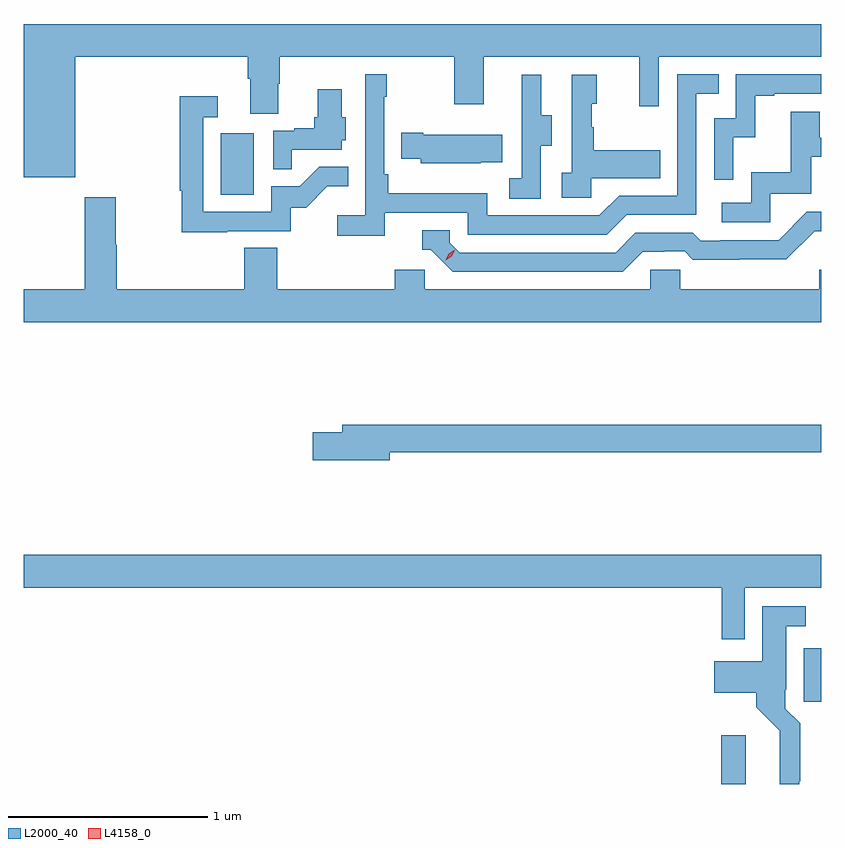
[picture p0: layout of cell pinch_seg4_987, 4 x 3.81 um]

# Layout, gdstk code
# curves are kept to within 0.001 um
import gdstk
lib = gdstk.Library(unit=1e-6, precision=1e-09)
def R(c, l, rs):  # rectangles x0, y0, x1, y1
    for r in rs: c.add(gdstk.rectangle(r[:2], r[2:], *l))
def P(c, l, *ps):  # polygons
    for p in ps: c.add(gdstk.Polygon(p, *l))
L2000_40 = (2000, 40)
L4158_0 = (4158, 0)

pinch_seg4_987 = lib.new_cell('pinch_seg4_987')
R(pinch_seg4_987, L2000_40, [(794.315,783.846,794.437,784.09), (794.729,784.26,794.816,784.527), (791.804,786.804,791.968,787.111)])
P(pinch_seg4_987, L2000_40, [(791.074,787.496),(791.939,787.496),(791.939,787.384),(791.951,787.384),(791.951,787.21),(792.091,787.21),(792.091,787.359),(792.099,787.359),(792.099,787.496),(792.976,787.496),(792.976,787.257),(793.123,787.257),(793.123,787.496),(793.904,787.496),(793.904,787.248),(794.001,787.248),(794.001,787.496),(794.816,787.496),(794.816,787.66),(790.816,787.66),(790.816,786.89),(791.074,786.89)],
  [(792.626,786.714),(793.044,786.714),(793.044,786.603),(793.741,786.603),(793.84,786.702),(794.19,786.702),(794.19,787.311),(794.303,787.311),(794.303,787.407),(794.094,787.407),(794.094,786.798),(793.803,786.798),(793.704,786.699),(793.14,786.699),(793.14,786.811),(792.644,786.811),(792.644,786.907),(792.624,786.907),(792.624,787.295),(792.637,787.295),(792.637,787.408),(792.528,787.408),(792.528,786.7),(792.387,786.7),(792.387,786.598),(792.626,786.598)],
  [(794.376,787.091),(794.486,787.091),(794.486,787.299),(794.581,787.299),(794.581,787.311),(794.816,787.311),(794.816,787.407),(794.388,787.407),(794.388,787.188),(794.28,787.188),(794.28,786.879),(794.376,786.879)],
  [(793.41,787.048),(793.465,787.048),(793.465,787.203),(793.411,787.203),(793.411,787.405),(793.313,787.405),(793.313,787.191),(793.314,787.191),(793.314,786.887),(793.251,786.887),(793.251,786.784),(793.41,786.784)],
  [(793.662,786.887),(794.009,786.887),(794.009,787.027),(793.675,787.027),(793.675,787.142),(793.665,787.142),(793.665,787.26),(793.69,787.26),(793.69,787.405),(793.566,787.405),(793.566,786.914),(793.515,786.914),(793.515,786.789),(793.662,786.789)],
  [(792.161,787.029),(792.412,787.029),(792.412,787.077),(792.43,787.077),(792.43,787.191),(792.412,787.191),(792.412,787.333),(792.29,787.333),(792.29,787.191),(792.272,787.191),(792.272,787.138),(792.173,787.138),(792.173,787.125),(792.066,787.125),(792.066,786.931),(792.161,786.931)],
  [(791.837,786.621),(792.156,786.621),(792.156,786.738),(792.232,786.738),(792.339,786.845),(792.443,786.845),(792.443,786.944),(792.299,786.944),(792.201,786.846),(792.057,786.846),(792.057,786.717),(791.715,786.717),(791.715,787.191),(791.788,787.191),(791.788,787.297),(791.599,787.297),(791.599,786.824),(791.607,786.824),(791.607,786.616),(791.837,786.616)],
  [(794.562,786.807),(794.767,786.807),(794.767,786.993),(794.816,786.993),(794.816,787.089),(794.809,787.089),(794.809,787.219),(794.665,787.219),(794.665,786.916),(794.466,786.916),(794.466,786.762),(794.319,786.762),(794.319,786.666),(794.562,786.666)],
  [(793.109,786.965),(793.217,786.965),(793.217,787.105),(792.82,787.105),(792.82,787.113),(792.709,787.113),(792.709,786.983),(792.807,786.983),(792.807,786.962),(793.109,786.962)],
  [(794.816,786.426),(794.807,786.426),(794.807,786.328),(794.109,786.328),(794.109,786.426),(793.959,786.426),(793.959,786.328),(792.828,786.328),(792.828,786.426),(792.677,786.426),(792.677,786.328),(792.086,786.328),(792.086,786.536),(791.921,786.536),(791.921,786.328),(791.282,786.328),(791.282,786.551),(791.277,786.551),(791.277,786.79),(791.122,786.79),(791.122,786.328),(790.816,786.328),(790.816,786.164),(794.816,786.164)],
  [(793.921,786.516),(794.028,786.516),(794.028,786.519),(794.131,786.519),(794.173,786.477),(794.406,786.477),(794.406,786.479),(794.642,786.479),(794.784,786.621),(794.816,786.621),(794.816,786.717),(794.745,786.717),(794.604,786.576),(794.311,786.576),(794.311,786.573),(794.212,786.573),(794.173,786.612),(793.884,786.612),(793.785,786.513),(793.002,786.513),(792.954,786.561),(792.954,786.624),(792.815,786.624),(792.815,786.528),(792.858,786.528),(792.969,786.417),(793.822,786.417)],
  [(792.652,785.512),(794.816,785.512),(794.816,785.648),(792.413,785.648),(792.413,785.612),(792.264,785.612),(792.264,785.47),(792.652,785.47)],
  [(794.433,784.832),(794.816,784.832),(794.816,784.996),(790.816,784.996),(790.816,784.832),(794.317,784.832),(794.317,784.572),(794.433,784.572)],
  [(794.707,783.859),(794.711,783.859),(794.711,784.15),(794.637,784.224),(794.637,784.318),(794.641,784.318),(794.641,784.637),(794.74,784.637),(794.74,784.738),(794.522,784.738),(794.522,784.462),(794.28,784.462),(794.28,784.304),(794.492,784.304),(794.492,784.23),(794.61,784.112),(794.609,783.846),(794.707,783.846)])
P(pinch_seg4_987, L4158_0, [(792.932,786.474),(792.932,786.474),(792.948,786.507),(792.978,786.526),(792.978,786.526),(792.978,786.526),(792.963,786.494),(792.933,786.474)])

lib.write_gds('pinch_seg4_987.gds')
